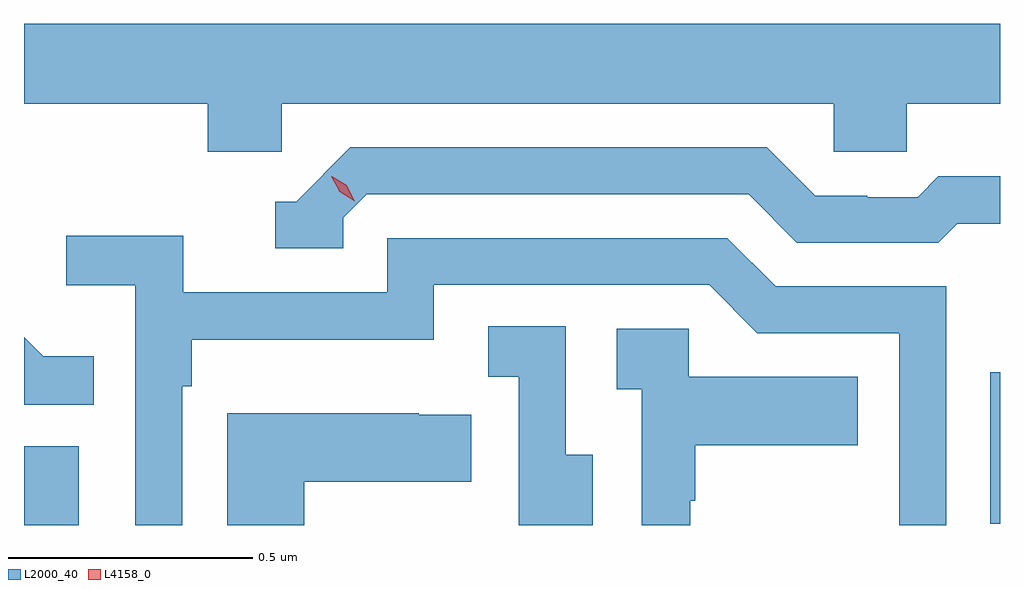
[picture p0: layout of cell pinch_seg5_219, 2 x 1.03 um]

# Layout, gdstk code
import gdstk
lib = gdstk.Library(unit=1e-6, precision=1e-09)
def R(c, l, rs):  # rectangles x0, y0, x1, y1
    for r in rs: c.add(gdstk.rectangle(r[:2], r[2:], *l))
def P(c, l, *ps):  # polygons
    for p in ps: c.add(gdstk.Polygon(p, *l))
L2000_40 = (2000, 40)
L4158_0 = (4158, 0)

pinch_seg5_219 = lib.new_cell('pinch_seg5_219')
R(pinch_seg5_219, L2000_40, [(982.554,913.173,982.666,913.335), (984.534,913.176,984.554,913.486)])
P(pinch_seg5_219, L2000_40, [(983.082,914.036),(984.213,914.036),(984.213,913.938),(984.363,913.938),(984.363,914.036),(984.554,914.036),(984.554,914.2),(982.554,914.2),(982.554,914.036),(982.931,914.036),(982.931,913.938),(983.082,913.938)],
  [(983.208,913.803),(983.256,913.851),(984.039,913.851),(984.138,913.752),(984.427,913.752),(984.466,913.791),(984.554,913.791),(984.554,913.888),(984.427,913.888),(984.385,913.845),(984.282,913.845),(984.282,913.848),(984.175,913.848),(984.076,913.947),(983.223,913.947),(983.112,913.836),(983.069,913.836),(983.069,913.74),(983.208,913.74)],
  [(982.878,913.457),(982.898,913.457),(982.898,913.553),(983.394,913.553),(983.394,913.665),(983.958,913.665),(984.057,913.566),(984.348,913.566),(984.348,913.173),(984.444,913.173),(984.444,913.662),(984.094,913.662),(983.995,913.761),(983.298,913.761),(983.298,913.65),(982.88,913.65),(982.88,913.766),(982.641,913.766),(982.641,913.664),(982.782,913.664),(982.782,913.173),(982.878,913.173)],
  [(983.719,913.317),(983.664,913.317),(983.664,913.58),(983.505,913.58),(983.505,913.477),(983.568,913.477),(983.568,913.173),(983.719,913.173)],
  [(983.919,913.223),(983.929,913.223),(983.929,913.337),(984.263,913.337),(984.263,913.477),(983.916,913.477),(983.916,913.575),(983.769,913.575),(983.769,913.451),(983.82,913.451),(983.82,913.173),(983.919,913.173)],
  [(982.697,913.519),(982.593,913.519),(982.554,913.558),(982.554,913.42),(982.697,913.42)],
  [(983.128,913.262),(983.471,913.262),(983.471,913.399),(983.363,913.399),(983.363,913.402),(982.97,913.402),(982.97,913.173),(983.128,913.173)])
P(pinch_seg5_219, L4158_0, [(983.232,913.837),(983.201,913.856),(983.184,913.888),(983.184,913.888),(983.185,913.888),(983.215,913.869),(983.232,913.837),(983.232,913.837)])

lib.write_gds('pinch_seg5_219.gds')
